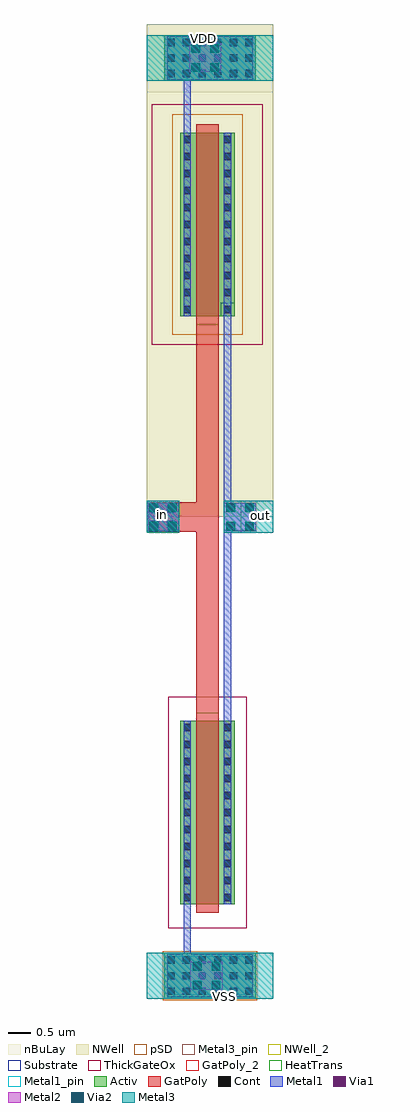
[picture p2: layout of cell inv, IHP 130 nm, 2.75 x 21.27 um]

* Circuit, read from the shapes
.subckt inv VDD VSS in out
XM1 out in VSS VSS sg13_hv_nmos w=4u l=0.5u
XM2 out in VDD VDD sg13_hv_pmos w=4u l=0.5u
.ends

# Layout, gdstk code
import gdstk
lib = gdstk.Library(unit=1e-6, precision=1e-09)
def R(c, l, rs):  # rectangles x0, y0, x1, y1
    for r in rs: c.add(gdstk.rectangle(r[:2], r[2:], *l))
def A(c, l, x, y, w, h, nx, ny, dx, dy):  # array of equal rectangles
    R(c, l, [(x+i*dx, y+j*dy, x+i*dx+w, y+j*dy+h) for i in range(nx) for j in range(ny)])
Activ = (1, 0)
GatPoly = (5, 0)
GatPoly_2 = (5, 2)
Cont = (6, 0)
Metal1 = (8, 0)
Metal1_pin = (8, 2)
Metal2 = (10, 0)
pSD = (14, 0)
Via1 = (19, 0)
Via2 = (29, 0)
Metal3 = (30, 0)
Metal3_pin = (30, 2)
NWell = (31, 0)
NWell_2 = (31, 2)
nBuLay = (32, 0)
Substrate = (40, 0)
ThickGateOx = (44, 0)
HeatTrans = (51, 0)

nmoshv_14 = lib.new_cell('nmosHV$14')
R(nmoshv_14, Activ, [(0,0,0.3,0.3), (0,0,1.18,4), (0.88,0,1.18,0.3)])
R(nmoshv_14, GatPoly, [(0.34,-0.18,0.84,4.18)])
R(nmoshv_14, GatPoly_2, [(0.34,-0.18,0.84,4.18)])
A(nmoshv_14, Cont, 0.07, 0.07, 0.16, 0.16, 1, 11, 0, 0.37)
A(nmoshv_14, Cont, 0.95, 0.07, 0.16, 0.16, 1, 11, 0, 0.37)
R(nmoshv_14, Metal1, [(0.07,0,0.23,4), (0.95,0,1.11,4)])
R(nmoshv_14, Metal1_pin, [(0.07,0,0.23,4), (0.95,0,1.11,4)])
R(nmoshv_14, ThickGateOx, [(-0.27,-0.52,1.45,4.52)])
R(nmoshv_14, HeatTrans, [(0.34,-0.18,0.84,4.18)])
nmoshv_14.add(gdstk.Label('nmosHV', (0.59,2), layer=63, texttype=0))
nmoshv_14.add(gdstk.Label('nmosHV', (0.59,2), layer=51, texttype=0))

pmoshv_11 = lib.new_cell('pmosHV$11')
R(pmoshv_11, Activ, [(0,0,0.3,0.3), (0,0,1.18,4), (0.88,0,1.18,0.3)])
R(pmoshv_11, GatPoly, [(0.34,-0.18,0.84,4.18)])
R(pmoshv_11, GatPoly_2, [(0.34,-0.18,0.84,4.18)])
A(pmoshv_11, Cont, 0.07, 0.07, 0.16, 0.16, 1, 11, 0, 0.37)
A(pmoshv_11, Cont, 0.95, 0.07, 0.16, 0.16, 1, 11, 0, 0.37)
R(pmoshv_11, Metal1, [(0.07,0,0.23,4), (0.95,0,1.11,4)])
R(pmoshv_11, Metal1_pin, [(0.07,0,0.23,4), (0.95,0,1.11,4)])
R(pmoshv_11, pSD, [(-0.18,-0.4,1.36,4.4)])
R(pmoshv_11, NWell, [(-0.62,-0.62,1.8,4.62)])
R(pmoshv_11, Substrate, [(0.88,0,1.18,0.3)])
R(pmoshv_11, ThickGateOx, [(-0.62,-0.62,1.8,4.62)])
R(pmoshv_11, HeatTrans, [(0.34,-0.18,0.84,4.18)])
pmoshv_11.add(gdstk.Label('pmosHV', (0.59,2), layer=63, texttype=0))
pmoshv_11.add(gdstk.Label('pmos', (0.59,2), layer=51, texttype=0))

ntap1_3 = lib.new_cell('ntap1$3')
R(ntap1_3, Activ, [(0,0,2,1)])
A(ntap1_3, Cont, 0.07, 0.08, 0.16, 0.16, 6, 3, 0.34, 0.34)
R(ntap1_3, Metal1, [(0.07,0.03,1.93,0.97)])
R(ntap1_3, Metal1_pin, [(0.07,0.03,1.93,0.97), (0.07,0.08,1.93,0.92)])
R(ntap1_3, NWell, [(-0.24,-0.24,2.24,1.24), (0,0,2,1)])
R(ntap1_3, NWell_2, [(0,0,2,1)])
R(ntap1_3, nBuLay, [(-0.24,-0.24,2.24,1.24)])
ntap1_3.add(gdstk.Label('well', (1,0.01), layer=63, texttype=0))
ntap1_3.add(gdstk.Label('well', (1,0.01), layer=31, texttype=0))

ptap1_1 = lib.new_cell('ptap1$1')
R(ptap1_1, Activ, [(0,0,2,1)])
A(ptap1_1, Cont, 0.07, 0.08, 0.16, 0.16, 6, 3, 0.34, 0.34)
R(ptap1_1, Metal1, [(0.07,0.03,1.93,0.97), (0.07,0.08,1.93,0.92)])
R(ptap1_1, Metal1_pin, [(0.07,0.08,1.93,0.92)])
R(ptap1_1, pSD, [(-0.03,-0.03,2.03,1.03)])
R(ptap1_1, Substrate, [(0,0,2,1)])
ptap1_1.add(gdstk.Label('sub!', (1,0.01), layer=63, texttype=0))
ptap1_1.add(gdstk.Label('sub!', (1,0.01), layer=40, texttype=0))

via_stack_40 = lib.new_cell('via_stack$40')
R(via_stack_40, GatPoly, [(-0.32,-0.32,0.32,0.32)])
R(via_stack_40, Cont, [(-0.25,-0.25,-0.09,-0.09), (0.09,-0.25,0.25,-0.09), (-0.25,0.09,-0.09,0.25), (0.09,0.09,0.25,0.25)])
R(via_stack_40, Metal1, [(-0.35,-0.31,0.35,0.31)])
R(via_stack_40, Metal2, [(-0.35,-0.305,0.35,0.305)])
R(via_stack_40, Via1, [(-0.3,-0.3,-0.11,-0.11), (0.11,-0.3,0.3,-0.11), (-0.3,0.11,-0.11,0.3), (0.11,0.11,0.3,0.3)])
R(via_stack_40, Via2, [(-0.3,-0.3,-0.11,-0.11), (0.11,-0.3,0.3,-0.11), (-0.3,0.11,-0.11,0.3), (0.11,0.11,0.3,0.3)])
R(via_stack_40, Metal3, [(-0.35,-0.305,0.35,0.305)])

via_stack_24 = lib.new_cell('via_stack$24')
R(via_stack_24, Metal1, [(-0.35,-0.31,0.35,0.31)])
R(via_stack_24, Metal2, [(-0.35,-0.305,0.35,0.305)])
R(via_stack_24, Via1, [(-0.3,-0.3,-0.11,-0.11), (0.11,-0.3,0.3,-0.11), (-0.3,0.11,-0.11,0.3), (0.11,0.11,0.3,0.3)])
R(via_stack_24, Via2, [(-0.3,-0.3,-0.11,-0.11), (0.11,-0.3,0.3,-0.11), (-0.3,0.11,-0.11,0.3), (0.11,0.11,0.3,0.3)])
R(via_stack_24, Metal3, [(-0.35,-0.305,0.35,0.305)])

inv = lib.new_cell('inv')
R(inv, GatPoly, [(1.07,5.48,1.57,14.495), (0.03,9.68,1.07,10.32)])
R(inv, Metal1, [(0.8,-0.25,0.96,5.555), (1.68,1.555,1.84,18.37), (0.8,14.37,0.96,20.25)])
R(inv, Metal3, [(0,-0.5,2.75,0.5), (0,9.65,0.7,10.35), (0,19.5,2.75,20.5)])
R(inv, Metal3_pin, [(0,-0.5,2.75,0.5), (0,9.65,0.7,10.35), (2.05,9.65,2.75,10.35), (0,19.5,2.75,20.5)])
R(inv, NWell, [(0,10,2.75,20), (0,19.255,2.75,20.74)])
R(inv, nBuLay, [(0,19.255,2.75,20.74)])
inv.add(gdstk.FlexPath([(1.68,10),(2.75,10),(2.75,10)], 0.7, ends="flush", simple_path=True, layer=30, datatype=0))  # Metal3
inv.add(gdstk.Reference(nmoshv_14, (0.73,1.555)))
inv.add(gdstk.Reference(pmoshv_11, (0.73,14.37)))
inv.add(gdstk.Reference(ntap1_3, (0.375,19.5)))
inv.add(gdstk.Reference(ptap1_1, (0.375,-0.5)))
inv.add(gdstk.Reference(via_stack_40, (0.35,10)))
inv.add(gdstk.Reference(via_stack_24, (2.03,10)))
inv.add(gdstk.Reference(via_stack_24, (1.27,20)))
inv.add(gdstk.Reference(via_stack_24, (1.3,0)))
inv.add(gdstk.Label('out', (2.465,10.02), layer=30, texttype=25))
inv.add(gdstk.Label('in', (0.35,10.04), layer=30, texttype=25))
inv.add(gdstk.Label('VDD', (1.234,20.419), layer=30, texttype=25))
inv.add(gdstk.Label('VSS', (1.698,-0.452), layer=30, texttype=25))

lib.write_gds('inv.gds')
